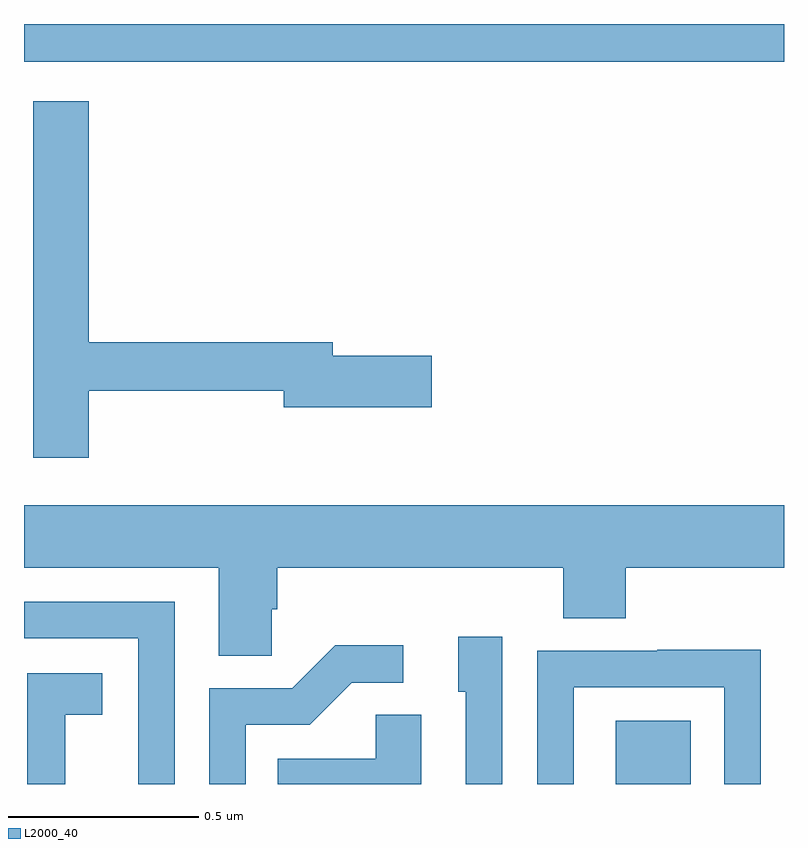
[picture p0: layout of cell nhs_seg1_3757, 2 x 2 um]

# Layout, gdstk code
import gdstk
lib = gdstk.Library(unit=1e-6, precision=1e-09)
def R(c, l, rs):  # rectangles x0, y0, x1, y1
    for r in rs: c.add(gdstk.rectangle(r[:2], r[2:], *l))
def P(c, l, *ps):  # polygons
    for p in ps: c.add(gdstk.Polygon(p, *l))
L2000_40 = (2000, 40)

nhs_seg1_3757 = lib.new_cell('nhs_seg1_3757')
R(nhs_seg1_3757, L2000_40, [(159.557,515.199,159.754,515.365), (158,517.1,160,517.199)])
P(nhs_seg1_3757, L2000_40, [(158.171,516.234),(158.684,516.234),(158.684,516.191),(159.073,516.191),(159.073,516.326),(158.812,516.326),(158.812,516.362),(158.171,516.362),(158.171,516.996),(158.024,516.996),(158.024,516.057),(158.171,516.057)],
  [(158.652,515.659),(158.666,515.659),(158.666,515.768),(159.419,515.768),(159.419,515.635),(159.584,515.635),(159.584,515.768),(160,515.768),(160,515.932),(158,515.932),(158,515.768),(158.513,515.768),(158.513,515.536),(158.652,515.536)],
  [(158.397,515.679),(158,515.679),(158,515.583),(158.301,515.583),(158.301,515.199),(158.397,515.199)],
  [(159.258,515.587),(159.143,515.587),(159.143,515.442),(159.162,515.442),(159.162,515.199),(159.258,515.199)],
  [(158.583,515.355),(158.752,515.355),(158.863,515.466),(158.998,515.466),(158.998,515.564),(158.819,515.564),(158.706,515.451),(158.487,515.451),(158.487,515.199),(158.583,515.199)],
  [(159.447,515.454),(159.843,515.454),(159.843,515.199),(159.939,515.199),(159.939,515.552),(159.667,515.552),(159.667,515.55),(159.351,515.55),(159.351,515.199),(159.447,515.199)],
  [(158.108,515.381),(158.206,515.381),(158.206,515.491),(158.008,515.491),(158.008,515.285),(158.009,515.285),(158.009,515.199),(158.108,515.199)],
  [(159.046,515.381),(158.925,515.381),(158.925,515.266),(158.668,515.266),(158.668,515.199),(159.046,515.199)])

lib.write_gds('nhs_seg1_3757.gds')
